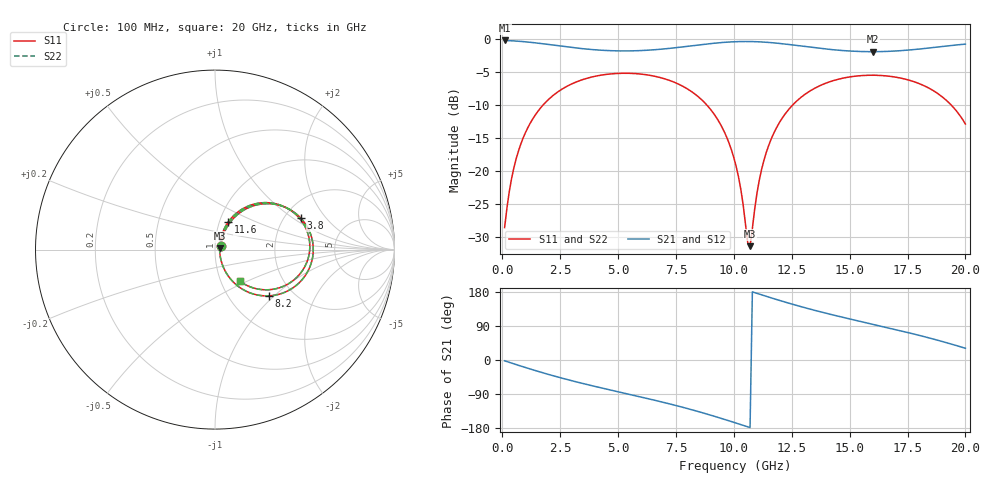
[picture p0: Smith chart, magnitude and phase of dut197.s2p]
! Touchstone file exported from HFSS 2026.1.0
!  File:  C:/ffzhzh/LocalFiles/Ansys_Project_Files/temp_train_TSV_RDL_197_1783059704_46780.aedt
!  Generated:  02:43:24 PM Jul  3, 2026
!  Design:  TSV_RDL
!  Project:  temp_train_TSV_RDL_197_1783059704_46780
! Variables:
!  h_bsmrdl = 5.14um
!  h_ox = 20um
!  h_rdl = 5um
!  h_sub = 93.47um
!  h_tmrdl = 2.11um
!  h_tsv = 93.47um
!  h_via = 3um
!  l_bsmrdl = 942.97um
!  l_sub = 5491.09um
!  l_tmrdl = 524.43um
!  m_sub = 200um
!  pitch = 56.77um
!  r_tsv = 2.64um
!  s_tmrdl = 10um
!  w_bsmrdl = 28.62um
!  w_sub = 500um
!  w_tmrdl = 26.2um
!  x_tsv_center1 = 537.53um
!  x_tsv_center2 = 1509.12um
!  x_tsv_center3 = 2059.75um
!  x_tsv_center4 = 3031.34um
!  x_tsv_center5 = 3581.97um
!  x_tsv_center6 = 4553.56um
# GHz S MA R 50.000000
! Terminal data exported
! Port[1] = TM_RDL1_1_T1
! Port[2] = TM_RDL5_1_T1
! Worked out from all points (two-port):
!   200 points, 100 MHz to 20 GHz, reference 50 ohm
!   highest |S21| = -0.27 dB at 100 MHz (marker M1); lowest = -2.0 dB at 16 GHz (marker M2)
!   |S21| within 3 dB of the highest: start of sweep to end of sweep
!   lowest |S11| = -31.4 dB at 10.7 GHz (marker M3), VSWR 1.06, Z = 52.7 + j0.731 ohm
!   |S11| at or under -10 dB: start of sweep to 1.773 GHz; 8.822 GHz to 12.55 GHz (3.73 GHz wide, 34.9 % of centre); 19.38 GHz to end of sweep
!   |S22| runs from -31.5 to -5.2 dB; largest |S21 - S12| = 7.8e-14
!   S11 on the Smith chart (normalised r, x): 100 MHz: 1.06, +0.04; 3.8 GHz: 2.45, +1.16; 8.2 GHz: 1.51, -0.92; 11.6 GHz: 1.10, +0.35; 20 GHz: 1.23, -0.46
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0.1  0.03721 32.7  0.9692 -2.1  0.9692 -2.1  0.03721 32.7
! Gamma 0 0 0 0
! Port Impedance 50 0 50 0
0.5  0.1054 61.4  0.9616 -10.1  0.9616 -10.1  0.1054 61.4
1.2  0.2283 57.6  0.9392 -23.6  0.9392 -23.6  0.2283 57.6
2.2  0.3725 43.2  0.8941 -41.6  0.8941 -41.6  0.3725 43.2
3.5  0.4919 24.3  0.8388 -62.3  0.8388 -62.3  0.4919 24.3
3.8  0.5093 20.1  0.8293 -66.8  0.8293 -66.8  0.5093 20.1
5.3  0.5475 -0.0  0.8075 -88.0  0.8075 -88.0  0.5475 -0.0
6.8  0.5089 -20.3  0.8306 -109.4  0.8306 -109.4  0.5089 -20.3
8.2  0.3948 -40.8  0.8839 -131.5  0.8839 -131.5  0.3948 -40.8
9.4  0.2285 -58.9  0.9322 -153.0  0.9322 -153.0  0.2285 -58.9
10.1  0.108 -64.6  0.9488 -166.5  0.9488 -166.5  0.1079 -64.7
10.4  0.05569 -56.4  0.9515 -172.4  0.9515 -172.4  0.05558 -56.6
10.6  0.02857 -22.5  0.9516 -176.3  0.9516 -176.3  0.02834 -22.7
10.7  0.02693 14.9  0.9512 -178.3  0.9512 -178.3  0.02668 15.1
11.1  0.08523 64.6  0.9463 173.9  0.9463 173.9  0.08515 64.8
11.6  0.1718 64.3  0.9335 164.2  0.9335 164.2  0.1718 64.4
12.4  0.2957 53.6  0.9023 149.5  0.9023 149.5  0.2957 53.7
13.4  0.413 38.7  0.8578 132.5  0.8578 132.5  0.4129 38.8
16  0.529 3.1  0.7971 94.3  0.7971 94.3  0.529 3.2
16.7  0.5201 -6.1  0.8021 84.4  0.8021 84.4  0.52 -6.1
18.7  0.3957 -33.8  0.8603 53.9  0.8603 53.9  0.3957 -33.8
20  0.2262 -51.6  0.9092 31.0  0.9092 31.0  0.2261 -51.7
